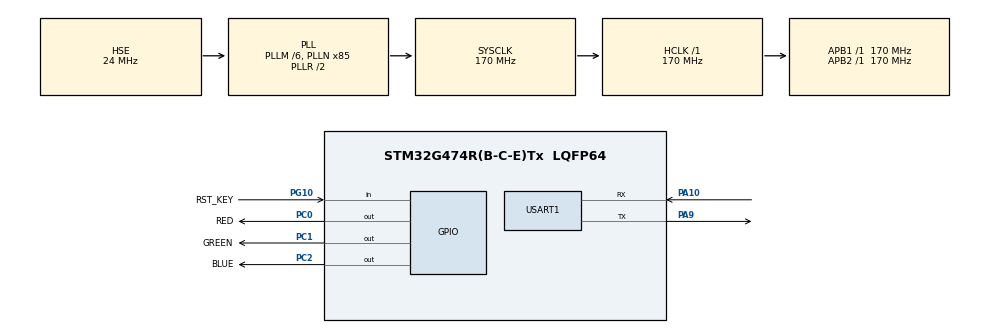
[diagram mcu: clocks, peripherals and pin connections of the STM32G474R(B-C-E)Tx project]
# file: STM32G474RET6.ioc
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Mcu.Family=STM32G4
Mcu.Name=STM32G474R(B-C-E)Tx
Mcu.Package=LQFP64
NVIC.PriorityGroup=NVIC_PRIORITYGROUP_4
NVIC.USART1_IRQn=true\:0\:0\:false\:false\:true\:true\:true\:true
PA10.Mode=Asynchronous
PA10.Signal=USART1_RX
PA13.Mode=Serial_Wire
PA13.Signal=SYS_JTMS-SWDIO
PA14.Mode=Serial_Wire
PA14.Signal=SYS_JTCK-SWCLK
PA9.Mode=Asynchronous
PA9.Signal=USART1_TX
PC0.GPIO_Label=RED
PC0.GPIO_PuPd=GPIO_PULLUP
PC0.GPIO_Speed=GPIO_SPEED_FREQ_VERY_HIGH
PC0.PinState=GPIO_PIN_SET
PC0.Signal=GPIO_Output
PC1.GPIO_Label=GREEN
PC1.GPIO_PuPd=GPIO_PULLUP
PC1.GPIO_Speed=GPIO_SPEED_FREQ_VERY_HIGH
PC1.PinState=GPIO_PIN_SET
PC1.Signal=GPIO_Output
PC2.GPIO_Label=BLUE
PC2.GPIO_PuPd=GPIO_PULLUP
PC2.GPIO_Speed=GPIO_SPEED_FREQ_VERY_HIGH
PC2.PinState=GPIO_PIN_SET
PC2.Signal=GPIO_Output
PF0-OSC_IN.Mode=HSE-External-Oscillator
PF0-OSC_IN.Signal=RCC_OSC_IN
PF1-OSC_OUT.Mode=HSE-External-Oscillator
PF1-OSC_OUT.Signal=RCC_OSC_OUT
PG10-NRST.GPIO_Label=RST_KEY
PG10-NRST.GPIO_PuPd=GPIO_PULLUP
PG10-NRST.Signal=GPIO_Input
ProjectManager.HeapSize=0x200
ProjectManager.StackSize=0x400
ProjectManager.TargetToolchain=MDK-ARM V5.32
RCC.ADC12Freq_Value=170000000
RCC.ADC345Freq_Value=170000000
RCC.AHBFreq_Value=170000000
RCC.APB1Freq_Value=170000000
RCC.APB1TimFreq_Value=170000000
RCC.APB2Freq_Value=170000000
RCC.APB2TimFreq_Value=170000000
RCC.CortexFreq_Value=170000000
RCC.EXTERNAL_CLOCK_VALUE=12288000
RCC.HCLKFreq_Value=170000000
RCC.HSE_VALUE=24000000
RCC.HSI48_VALUE=48000000
RCC.HSI_VALUE=16000000
RCC.LSE_VALUE=32768
RCC.PLLM=RCC_PLLM_DIV6
RCC.PLLN=85
RCC.PLLSourceVirtual=RCC_PLLSOURCE_HSE
RCC.SYSCLKFreq_VALUE=170000000
RCC.SYSCLKSource=RCC_SYSCLKSOURCE_PLLCLK
RCC.USBFreq_Value=170000000
RCC.VCOOutputFreq_Value=340000000
USART1.VirtualMode-Asynchronous=VM_ASYNC
VP_SYS_VS_DBSignals.Mode=DisableDeadBatterySignals
board=custom

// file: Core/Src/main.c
/* USER CODE BEGIN Header */
/**
  ******************************************************************************
  * @file           : main.c
  * @brief          : Main program body
  ******************************************************************************
  * @attention
  *
  * Copyright (c) 2026 STMicroelectronics.
  * All rights reserved.
  *
  * This software is licensed under terms that can be found in the LICENSE file
  * in the root directory of this software component.
  * If no LICENSE file comes with this software, it is provided AS-IS.
  *
  ******************************************************************************
  */
/* USER CODE END Header */
#include "main.h"
#include "usart.h"
#include "gpio.h"

/* USER CODE BEGIN Includes */
#include <string.h>
#include <stdlib.h>
#include "stdio.h"

/* USER CODE END Includes */

void SystemClock_Config(void);
/* USER CODE BEGIN PFP */
static void RST_Key_EnableGPIO(void);
static void RST_Key_RestoreReset(void);
/* USER CODE END PFP */

/* USER CODE BEGIN 0 */
static void RST_Key_EnableGPIO(void)
{
  FLASH_OBProgramInitTypeDef ob = {0};

  HAL_FLASHEx_OBGetConfig(&ob);
  if ((ob.USERConfig & FLASH_OPTR_NRST_MODE) != OB_NRST_MODE_GPIO)
  {
    HAL_FLASH_Unlock();
    HAL_FLASH_OB_Unlock();

    ob.OptionType = OPTIONBYTE_USER;
    ob.USERType = OB_USER_NRST_MODE;
    ob.USERConfig = OB_NRST_MODE_GPIO;
    if (HAL_FLASHEx_OBProgram(&ob) != HAL_OK)
    {
      Error_Handler();
    }

    HAL_FLASH_OB_Launch();
    Error_Handler();
  }
}

static void RST_Key_RestoreReset(void)
{
  FLASH_OBProgramInitTypeDef ob = {0};

  HAL_FLASHEx_OBGetConfig(&ob);
  if ((ob.USERConfig & FLASH_OPTR_NRST_MODE) != OB_NRST_MODE_INPUT_OUTPUT)
  {
    HAL_FLASH_Unlock();
    HAL_FLASH_OB_Unlock();

    ob.OptionType = OPTIONBYTE_USER;
    ob.USERType = OB_USER_NRST_MODE;
    ob.USERConfig = OB_NRST_MODE_INPUT_OUTPUT;
    if (HAL_FLASHEx_OBProgram(&ob) != HAL_OK)
    {
      Error_Handler();
    }

    HAL_FLASH_OB_Launch();
    Error_Handler();
  }
}

int fputc(int ch, FILE *f)
{
	HAL_UART_Transmit(&huart1, (uint8_t *)&ch, 1, 0xFFFF);
	return ch;
}

uint8_t rx1_buf;

/**
	* @brief          串口接收中断回调函数
  * @param[in]     	huart 串口句柄
  * @retval         none
  */
void HAL_UART_RxCpltCallback(UART_HandleTypeDef *huart)
{

	if(huart->Instance==USART1)
	{
		HAL_UART_Receive_IT(&huart1, &rx1_buf, 1);

		HAL_UART_Transmit(&huart1, &rx1_buf, 1, 1000);

	}

}
/* USER CODE END 0 */

int main(void)
{

  /* MCU Configuration--------------------------------------------------------*/

  /* Reset of all peripherals, Initializes the Flash interface and the Systick. */
  HAL_Init();

  /* USER CODE BEGIN Init */
//	RST_Key_EnableGPIO();
	RST_Key_RestoreReset();
  /* USER CODE END Init */

  /* Configure the system clock */
  SystemClock_Config();

  /* Initialize all configured peripherals */
  MX_GPIO_Init();
  MX_USART1_UART_Init();
  /* USER CODE BEGIN 2 */
	printf("hello world! \r\n");
	printf("RST key: PG10 input, active low.\r\n");
	HAL_UART_Receive_IT(&huart1, &rx1_buf, 1);
  /* USER CODE END 2 */

  /* Infinite loop */
  /* USER CODE BEGIN WHILE */
  while (1)
  {
		if (HAL_GPIO_ReadPin(RST_KEY_GPIO_Port, RST_KEY_Pin) == GPIO_PIN_RESET)
		{
			HAL_GPIO_WritePin(RED_GPIO_Port, RED_Pin|GREEN_Pin|BLUE_Pin, GPIO_PIN_RESET);
		}
		else
		{
			HAL_GPIO_WritePin(RED_GPIO_Port, RED_Pin|GREEN_Pin|BLUE_Pin, GPIO_PIN_SET);
		}
		HAL_Delay(10);
    /* USER CODE END WHILE */

  }
}

void SystemClock_Config(void)
{
  RCC_OscInitTypeDef RCC_OscInitStruct = {0};
  RCC_ClkInitTypeDef RCC_ClkInitStruct = {0};

  /** Configure the main internal regulator output voltage
  */
  HAL_PWREx_ControlVoltageScaling(PWR_REGULATOR_VOLTAGE_SCALE1_BOOST);

  /** Initializes the RCC Oscillators according to the specified parameters
  * in the RCC_OscInitTypeDef structure.
  */
  RCC_OscInitStruct.OscillatorType = RCC_OSCILLATORTYPE_HSE;
  RCC_OscInitStruct.HSEState = RCC_HSE_ON;
  RCC_OscInitStruct.PLL.PLLState = RCC_PLL_ON;
  RCC_OscInitStruct.PLL.PLLSource = RCC_PLLSOURCE_HSE;
  RCC_OscInitStruct.PLL.PLLM = RCC_PLLM_DIV6;
  RCC_OscInitStruct.PLL.PLLN = 85;
  RCC_OscInitStruct.PLL.PLLP = RCC_PLLP_DIV2;
  RCC_OscInitStruct.PLL.PLLQ = RCC_PLLQ_DIV2;
  RCC_OscInitStruct.PLL.PLLR = RCC_PLLR_DIV2;
  if (HAL_RCC_OscConfig(&RCC_OscInitStruct) != HAL_OK)
  {
    Error_Handler();
  }

  /** Initializes the CPU, AHB and APB buses clocks
  */
  RCC_ClkInitStruct.ClockType = RCC_CLOCKTYPE_HCLK|RCC_CLOCKTYPE_SYSCLK
                              |RCC_CLOCKTYPE_PCLK1|RCC_CLOCKTYPE_PCLK2;
  RCC_ClkInitStruct.SYSCLKSource = RCC_SYSCLKSOURCE_PLLCLK;
  RCC_ClkInitStruct.AHBCLKDivider = RCC_SYSCLK_DIV1;
  RCC_ClkInitStruct.APB1CLKDivider = RCC_HCLK_DIV1;
  RCC_ClkInitStruct.APB2CLKDivider = RCC_HCLK_DIV1;

  if (HAL_RCC_ClockConfig(&RCC_ClkInitStruct, FLASH_LATENCY_4) != HAL_OK)
  {
    Error_Handler();
  }
}

void Error_Handler(void)
{
  __disable_irq();
  while (1)
  {
  }
}
